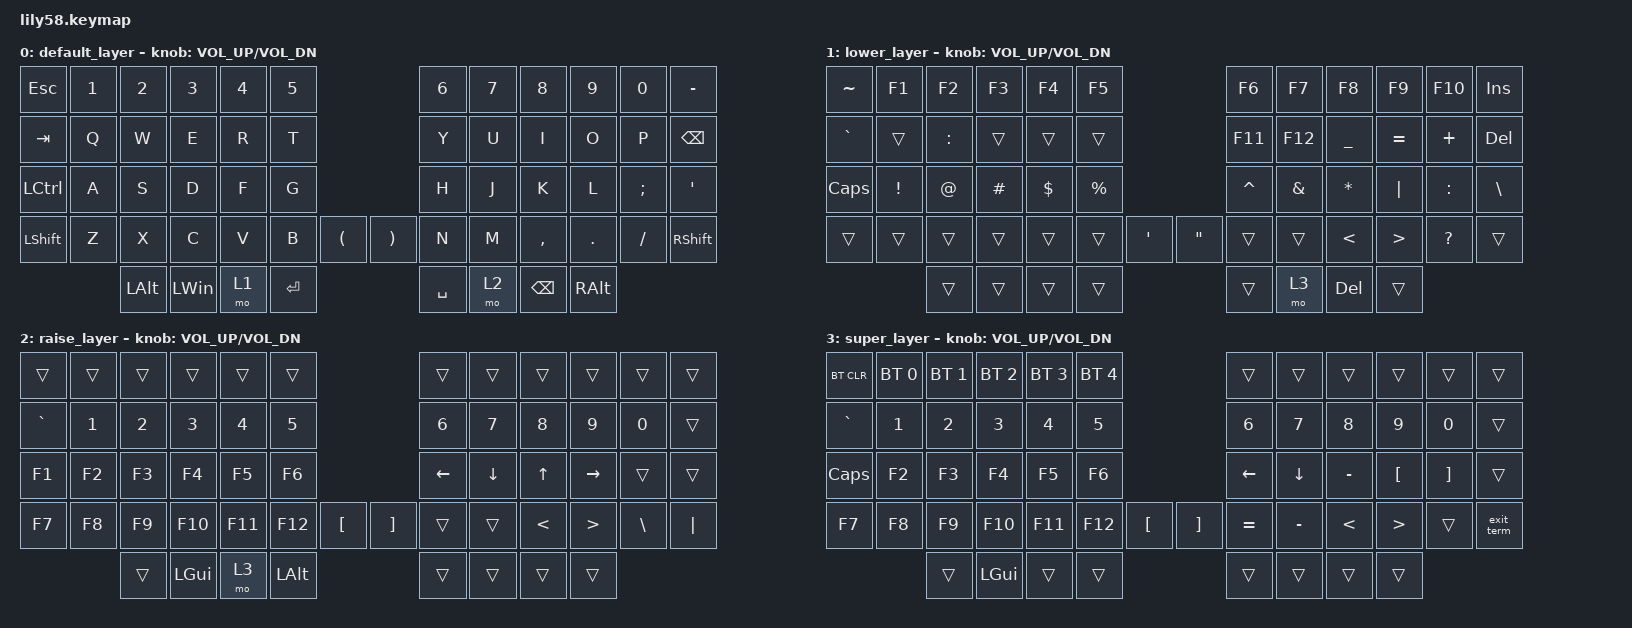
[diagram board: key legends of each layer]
/*
 * Copyright (c) 2020 The ZMK Contributors
 *
 * SPDX-License-Identifier: MIT
 */

#include <behaviors.dtsi>
#include <dt-bindings/zmk/bt.h>
#include <dt-bindings/zmk/ext_power.h>
#include <dt-bindings/zmk/keys.h>

/ {
    macros {
        exit_term: exit_term {
            compatible = "zmk,behavior-macro";
            #binding-cells = <0>;
            bindings =
                <&macro_press>,
                <&kp LCTRL>,
                <&macro_tap>,
                <&kp BSLH &kp N>,
                <&macro_release>,
                <&kp LCTRL>;
            label = "EXIT_TERM";
        };
    };

    keymap {
        compatible = "zmk,keymap";

        default_layer {bindings = < 
// -------------------------------------------------------------------------------------------------------------------------------------
//  ESC    |   1   |   2   |   3   |   4   |   5   |                      |   6   |   7   |   8      |   9    |   0     |   -          |
//  TAB    |   Q   |   W   |   E   |   R   |   T   |                      |   Y   |   U   |   I      |   O    |   P     |   BACKSPACE  |
//  CTRL   |   A   |   S   |   D   |   F   |   G   |                      |   H   |   J   |   K      |   L    |   ;     |   '          |
//  SHIFT  |   Z   |   X   |   C   |   V   |   B   |    (            )    |   N   |   M   |   ,      |   .    |   /     |   SHIFT      |
//                    |  ALT  |   WIN   | LOWER |  RETURN |      |   SPACE | RAISE |  BACKSPACE | ALT  |                               |
// -------------------------------------------------------------------------------------------------------------------------------------

&kp ESC     &kp N1   &kp N2  &kp N3  &kp N4  &kp N5                         &kp N6  &kp N7  &kp N8     &kp N9   &kp N0    &kp MINUS
&kp TAB     &kp Q    &kp W   &kp E   &kp R   &kp T                          &kp Y   &kp U   &kp I      &kp O    &kp P     &kp BSPC
&kp LCTRL   &kp A    &kp S   &kp D   &kp F   &kp G                          &kp H   &kp J   &kp K      &kp L    &kp SEMI  &kp APOS
&kp LSHFT   &kp Z    &kp X   &kp C   &kp V   &kp B  &kp LPAR      &kp RPAR  &kp N   &kp M   &kp COMMA  &kp DOT  &kp FSLH  &kp RSHFT
                      &kp LALT  &kp LWIN   &mo 1   &kp RET           &kp SPACE    &mo 2  &kp BSPC  &kp RALT
            >; sensor-bindings = <&inc_dec_kp C_VOL_UP C_VOL_DN>; };

        lower_layer {bindings = <
// -------------------------------------------------------------------------------------------------------------------------------------
//  ~      |   F1   |   F2  |   F3    |   F4    |   F5    |               |   F6    |   F7   |  F8    |   F9    |   F10   |   INS       |
//  `      |        |   :   |         |         |         |               |   F11   |   F12  |   _    |    =    |    +    |   DEL       |
//  CAPS   |   !    |   @   |    #    |    $    |    %    |               |    ^    |   &    |    *   |   `|`   |    :    |   \         |
//         |        |       |         |         |         |    '     "    |         |        |    <   |    >    |    ?    |             |
//                     |        |         |         |           |   |            | SUPER  |  DEL  |      |
// -------------------------------------------------------------------------------------------------------------------------------------

&kp TILDE    &kp F1  &kp F2   &kp F3    &kp F4    &kp F5                   &kp F6    &kp F7  &kp F8    &kp F9    &kp F10  &kp INS
&kp GRAVE   &trans  &kp COLON  &trans  &trans  &trans                       &kp F11   &kp F12 &kp UNDER &kp EQUAL &kp PLUS  &kp DEL
&kp CAPS  &kp EXCL  &kp AT  &kp HASH  &kp DLLR  &kp PRCNT                 &kp CARET &kp AMPS &kp STAR  &kp PIPE &kp COLON &kp BSLH
&trans      &trans  &trans  &trans    &trans    &trans    &kp SQT &kp DQT  &trans    &trans   &kp LT   &kp GT    &kp QMARK &trans
                        &trans    &trans    &trans    &trans          &trans     &mo 3    &kp DEL   &trans
            >; sensor-bindings = <&inc_dec_kp C_VOL_UP C_VOL_DN>; };

        raise_layer {
            // ------------------------------------------------------------------------------------------------------------
            // |       |     |     |      |      |      |                   |      |       |       |      |       |       |
            // |   `   |  1  |  2  |  3   |  4   |  5   |                   |  6   |   7   |   8   |  9   |   0   |       |
            // |   F1  |  F2 |  F3 |  F4  |  F5  |  F6  |                   |  <-  |   v   |  ^   |  ->   |       |       |
            // |   F7  |  F8 |  F9 |  F10 |  F11 |  F12 |    [   |  |   ]   |      |       |   <   |  >   |   \   |  `|`  |
            //                  |      |  WIN | SUPER | ALT |           |       |      |       |       |

            bindings = <
&trans    &trans &trans &trans  &trans  &trans                       &trans      &trans    &trans    &trans   &trans    &trans
&kp GRAVE &kp N1 &kp N2 &kp N3  &kp N4  &kp N5                       &kp N6      &kp N7    &kp N8    &kp N9   &kp N0    &trans
&kp F1    &kp F2 &kp F3 &kp F4  &kp F5  &kp F6                       &kp LEFT    &kp DOWN  &kp UP    &kp RIGHT &trans &trans
&kp F7    &kp F8 &kp F9 &kp F10 &kp F11 &kp F12   &kp LBKT    &kp RBKT    &trans &trans &kp LT &kp GT &kp BSLH  &kp PIPE
                        &trans  &kp LGUI &mo 3    &kp LALT   &trans    &trans      &trans    &trans
            >;

            sensor-bindings = <&inc_dec_kp C_VOL_UP C_VOL_DN>;
        };

        super_layer {
            // ------------------------------------------------------------------------------------------------------------
            // |   BLUETOOTH STUFF                      |                   |      |       |      |       |       |        |
            // |   `   |  1  |  2  |  3   |  4   |  5   |                   |  6   |   7   |  8   |   9   |   0   |        |
            // | CAPS  |  F2 |  F3 |  F4  |  F5  |  F6  |                   |  <-  |   v   |  -   |   [   |   ]   |        |
            // |   F7  |  F8 |  F9 |  F10 |  F11 |  F12 |    [   |  |   ]   |  =   |   -   |  <   |   >   |       | exit \ |
            //                  |      |  WIN |      |    |               |    |       |      |       |

            bindings = <
&bt BT_CLR  &bt BT_SEL 0  &bt BT_SEL 1  &bt BT_SEL 2  &bt BT_SEL 3  &bt BT_SEL 4                        &trans     &trans     &trans     &trans    &trans    &trans
&kp GRAVE   &kp N1        &kp N2        &kp N3        &kp N4        &kp N5                              &kp N6     &kp N7     &kp N8     &kp N9    &kp N0    &trans
&kp CAPS    &kp F2        &kp F3        &kp F4        &kp F5        &kp F6                              &kp LEFT   &kp DOWN   &kp MINUS  &kp LBKT  &kp RBKT  &trans
&kp F7      &kp F8        &kp F9        &kp F10       &kp F11       &kp F12       &kp LBKT    &kp RBKT  &kp EQUAL  &kp MINUS  &kp LT     &kp GT    &trans    &exit_term
                                        &trans        &kp LGUI      &trans        &trans      &trans    &trans     &trans     &trans
            >;

            sensor-bindings = <&inc_dec_kp C_VOL_UP C_VOL_DN>;
        };
    };
};
